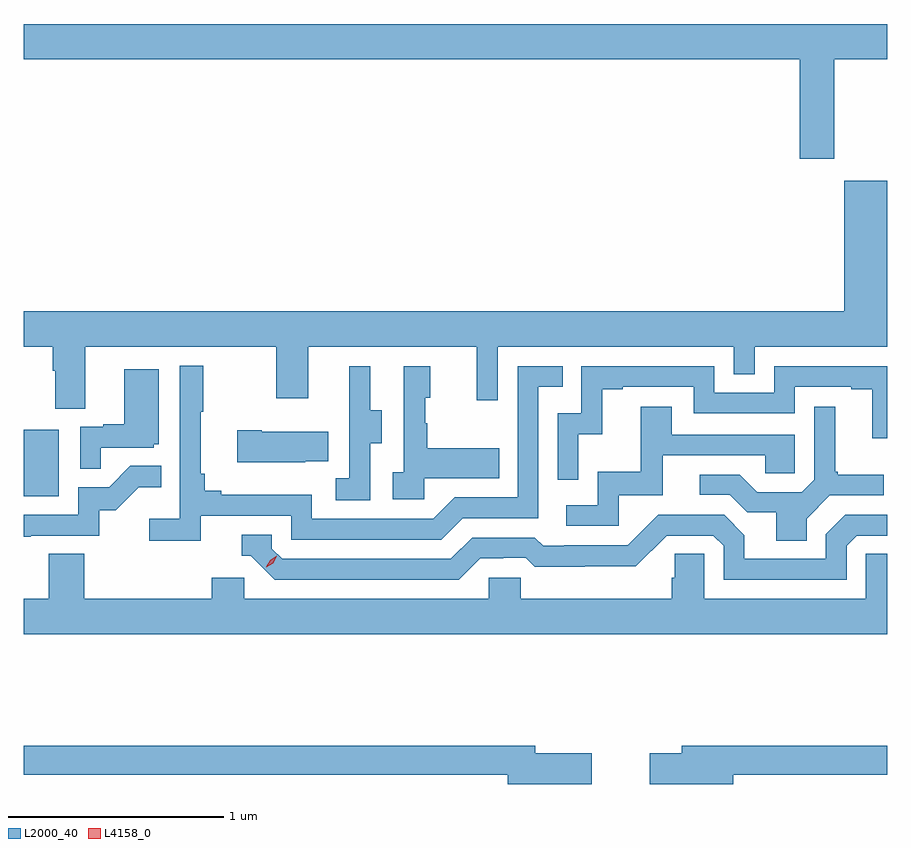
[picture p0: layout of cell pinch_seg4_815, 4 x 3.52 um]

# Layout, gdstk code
import gdstk
lib = gdstk.Library(unit=1e-6, precision=1e-09)
def R(c, l, rs):  # rectangles x0, y0, x1, y1
    for r in rs: c.add(gdstk.rectangle(r[:2], r[2:], *l))
def P(c, l, *ps):  # polygons
    for p in ps: c.add(gdstk.Polygon(p, *l))
L2000_40 = (2000, 40)
L4158_0 = (4158, 0)

pinch_seg4_815 = lib.new_cell('pinch_seg4_815')
R(pinch_seg4_815, L2000_40, [(804.238,797.46,804.4,797.767)])
P(pinch_seg4_815, L2000_40, [(807.993,799.484),(808.238,799.484),(808.238,799.648),(804.238,799.648),(804.238,799.484),(807.833,799.484),(807.833,799.023),(807.993,799.023)],
  [(804.523,798.152),(805.408,798.152),(805.408,797.913),(805.555,797.913),(805.555,798.152),(806.336,798.152),(806.336,797.904),(806.433,797.904),(806.433,798.152),(807.528,798.152),(807.528,798.025),(807.624,798.025),(807.624,798.152),(808.238,798.152),(808.238,798.922),(808.04,798.922),(808.04,798.316),(804.238,798.316),(804.238,798.152),(804.371,798.152),(804.371,798.04),(804.383,798.04),(804.383,797.866),(804.523,797.866)],
  [(805.058,797.37),(805.476,797.37),(805.476,797.259),(806.173,797.259),(806.272,797.358),(806.622,797.358),(806.622,797.967),(806.735,797.967),(806.735,798.063),(806.526,798.063),(806.526,797.454),(806.235,797.454),(806.136,797.355),(805.572,797.355),(805.572,797.467),(805.153,797.467),(805.153,797.486),(805.076,797.486),(805.076,797.563),(805.057,797.563),(805.057,797.851),(805.069,797.851),(805.069,798.064),(804.96,798.064),(804.96,797.356),(804.819,797.356),(804.819,797.254),(805.058,797.254)],
  [(806.808,797.747),(806.918,797.747),(806.918,797.955),(807.013,797.955),(807.013,797.967),(807.342,797.967),(807.342,797.844),(807.81,797.844),(807.81,797.967),(808.073,797.967),(808.073,797.955),(808.169,797.955),(808.169,797.729),(808.238,797.729),(808.238,798.063),(807.714,798.063),(807.714,797.94),(807.438,797.94),(807.438,798.063),(806.82,798.063),(806.82,797.844),(806.712,797.844),(806.712,797.535),(806.808,797.535)],
  [(806.094,797.543),(806.441,797.543),(806.441,797.683),(806.107,797.683),(806.107,797.798),(806.097,797.798),(806.097,797.916),(806.122,797.916),(806.122,798.061),(805.998,798.061),(805.998,797.57),(805.947,797.57),(805.947,797.445),(806.094,797.445)],
  [(805.842,797.704),(805.897,797.704),(805.897,797.859),(805.843,797.859),(805.843,798.061),(805.745,798.061),(805.745,797.847),(805.746,797.847),(805.746,797.543),(805.683,797.543),(805.683,797.44),(805.842,797.44)],
  [(804.593,797.685),(804.84,797.685),(804.84,797.7),(804.862,797.7),(804.862,798.049),(804.704,798.049),(804.704,797.794),(804.605,797.794),(804.605,797.781),(804.498,797.781),(804.498,797.587),(804.593,797.587)],
  [(806.994,797.463),(807.199,797.463),(807.199,797.649),(807.673,797.649),(807.673,797.565),(807.81,797.565),(807.81,797.745),(807.241,797.745),(807.241,797.875),(807.097,797.875),(807.097,797.572),(806.898,797.572),(806.898,797.418),(806.751,797.418),(806.751,797.322),(806.994,797.322)],
  [(807.865,797.356),(807.972,797.463),(808.222,797.463),(808.222,797.56),(808.009,797.56),(808.009,797.572),(807.997,797.572),(807.997,797.875),(807.9,797.875),(807.9,797.535),(807.843,797.478),(807.637,797.478),(807.556,797.559),(807.369,797.559),(807.369,797.466),(807.51,797.466),(807.59,797.386),(807.725,797.386),(807.725,797.254),(807.865,797.254)],
  [(805.541,797.621),(805.649,797.621),(805.649,797.758),(805.339,797.758),(805.339,797.766),(805.227,797.766),(805.227,797.618),(805.541,797.618)],
  [(804.269,797.277),(804.588,797.277),(804.588,797.394),(804.664,797.394),(804.771,797.501),(804.875,797.501),(804.875,797.6),(804.731,797.6),(804.633,797.502),(804.489,797.502),(804.489,797.373),(804.238,797.373),(804.238,797.272),(804.269,797.272)],
  [(806.353,797.172),(806.46,797.172),(806.46,797.175),(806.563,797.175),(806.605,797.133),(806.838,797.133),(806.838,797.135),(807.074,797.135),(807.216,797.277),(807.432,797.277),(807.48,797.229),(807.48,797.073),(808.05,797.073),(808.05,797.229),(808.098,797.277),(808.238,797.277),(808.238,797.373),(808.044,797.373),(807.954,797.283),(807.954,797.169),(807.577,797.169),(807.577,797.279),(807.483,797.373),(807.177,797.373),(807.036,797.232),(806.743,797.232),(806.743,797.229),(806.644,797.229),(806.605,797.268),(806.316,797.268),(806.217,797.169),(805.434,797.169),(805.386,797.217),(805.386,797.28),(805.247,797.28),(805.247,797.184),(805.29,797.184),(805.401,797.073),(806.254,797.073)],
  [(808.238,797.192),(808.14,797.192),(808.14,796.984),(807.39,796.984),(807.39,797.192),(807.253,797.192),(807.253,797.082),(807.239,797.082),(807.239,796.984),(806.541,796.984),(806.541,797.082),(806.391,797.082),(806.391,796.984),(805.26,796.984),(805.26,797.082),(805.109,797.082),(805.109,796.984),(804.518,796.984),(804.518,797.192),(804.353,797.192),(804.353,796.984),(804.238,796.984),(804.238,796.82),(808.238,796.82)],
  [(807.526,796.168),(808.238,796.168),(808.238,796.304),(807.287,796.304),(807.287,796.268),(807.138,796.268),(807.138,796.126),(807.526,796.126)],
  [(806.869,796.268),(806.608,796.268),(806.608,796.304),(804.238,796.304),(804.238,796.168),(806.48,796.168),(806.48,796.126),(806.869,796.126)])
P(pinch_seg4_815, L4158_0, [(805.362,797.131),(805.362,797.132),(805.379,797.164),(805.41,797.183),(805.41,797.183),(805.41,797.183),(805.393,797.15),(805.362,797.131)])

lib.write_gds('pinch_seg4_815.gds')
